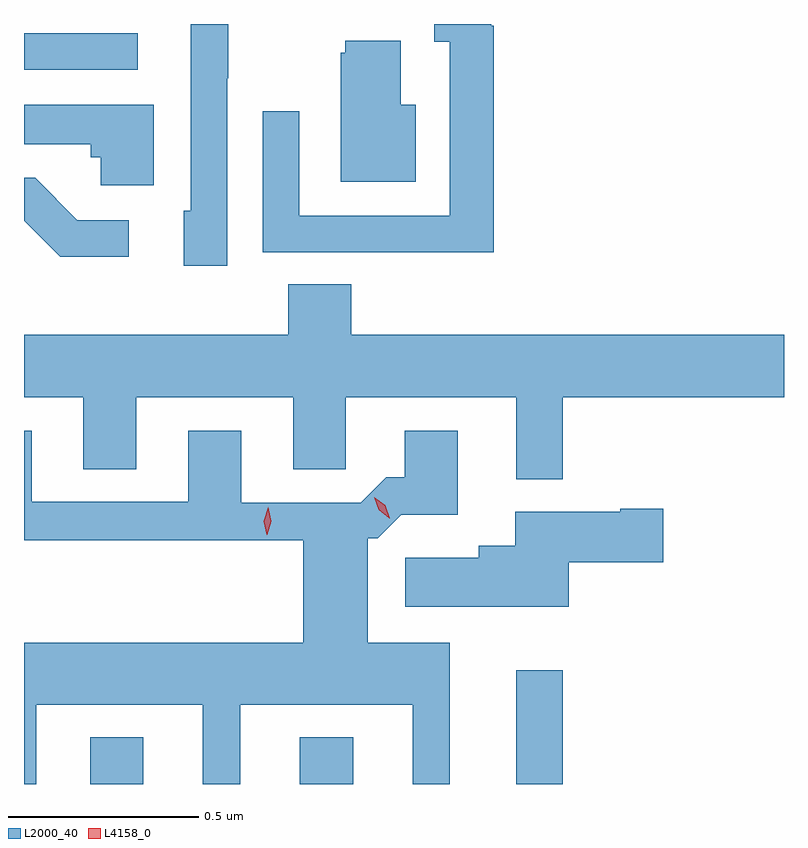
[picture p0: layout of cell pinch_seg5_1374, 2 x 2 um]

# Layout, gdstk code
import gdstk
lib = gdstk.Library(unit=1e-6, precision=1e-09)
def R(c, l, rs):  # rectangles x0, y0, x1, y1
    for r in rs: c.add(gdstk.rectangle(r[:2], r[2:], *l))
def P(c, l, *ps):  # polygons
    for p in ps: c.add(gdstk.Polygon(p, *l))
L2000_40 = (2000, 40)
L4158_0 = (4158, 0)

pinch_seg5_1374 = lib.new_cell('pinch_seg5_1374')
R(pinch_seg5_1374, L2000_40, [(339.383,893.038,339.523,893.161), (339.935,893.038,340.075,893.161), (340.505,893.038,340.627,893.338), (339.209,894.918,339.508,895.014)])
P(pinch_seg5_1374, L2000_40, [(340.445,895.034),(340.438,895.034),(340.438,895.038),(340.289,895.038),(340.289,894.991),(340.329,894.991),(340.329,894.534),(339.933,894.534),(339.933,894.808),(339.837,894.808),(339.837,894.438),(340.153,894.438),(340.153,894.437),(340.445,894.437)],
  [(339.744,894.895),(339.747,894.895),(339.747,895.038),(339.648,895.038),(339.648,894.546),(339.629,894.546),(339.629,894.402),(339.744,894.402)],
  [(340.24,894.826),(340.201,894.826),(340.201,894.994),(340.055,894.994),(340.055,894.963),(340.043,894.963),(340.043,894.623),(340.24,894.623)],
  [(339.55,894.826),(339.209,894.826),(339.209,894.722),(339.385,894.722),(339.385,894.687),(339.411,894.687),(339.411,894.614),(339.55,894.614)],
  [(339.484,894.522),(339.349,894.522),(339.238,894.633),(339.209,894.633),(339.209,894.52),(339.305,894.425),(339.484,894.425)],
  [(340.627,894.056),(341.209,894.056),(341.209,894.22),(340.07,894.22),(340.07,894.353),(339.905,894.353),(339.905,894.22),(339.209,894.22),(339.209,894.056),(339.365,894.056),(339.365,893.866),(339.505,893.866),(339.505,894.056),(339.917,894.056),(339.917,893.866),(340.056,893.866),(340.056,894.056),(340.505,894.056),(340.505,893.84),(340.627,893.84)],
  [(339.241,893.246),(339.68,893.246),(339.68,893.038),(339.778,893.038),(339.778,893.246),(340.232,893.246),(340.232,893.038),(340.33,893.038),(340.33,893.41),(340.114,893.41),(340.114,893.685),(340.14,893.685),(340.202,893.747),(340.351,893.747),(340.351,893.968),(340.211,893.968),(340.211,893.845),(340.162,893.845),(340.095,893.778),(339.781,893.778),(339.781,893.968),(339.641,893.968),(339.641,893.781),(339.229,893.781),(339.229,893.968),(339.209,893.968),(339.209,893.68),(339.944,893.68),(339.944,893.41),(339.209,893.41),(339.209,893.038),(339.241,893.038)],
  [(340.642,893.621),(340.891,893.621),(340.891,893.763),(340.778,893.763),(340.778,893.755),(340.502,893.755),(340.502,893.665),(340.406,893.665),(340.406,893.633),(340.212,893.633),(340.212,893.504),(340.642,893.504)])
P(pinch_seg5_1374, L4158_0, [(340.17,893.738),(340.143,893.76),(340.131,893.793),(340.131,893.793),(340.131,893.793),(340.159,893.771),(340.171,893.738),(340.171,893.738)],
  [(339.848,893.694),(339.848,893.694),(339.84,893.73),(339.852,893.766),(339.852,893.766),(339.852,893.766),(339.86,893.73),(339.849,893.694)])

lib.write_gds('pinch_seg5_1374.gds')
